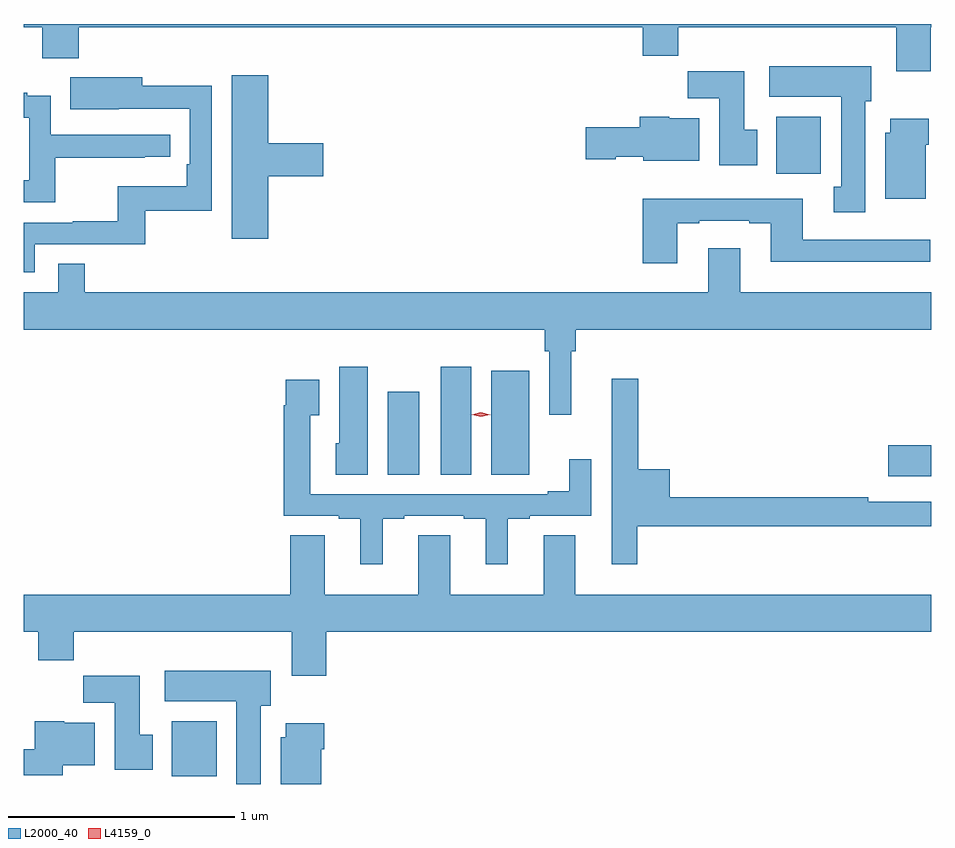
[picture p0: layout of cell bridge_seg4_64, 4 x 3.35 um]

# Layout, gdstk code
import gdstk
lib = gdstk.Library(unit=1e-6, precision=1e-09)
def R(c, l, rs):  # rectangles x0, y0, x1, y1
    for r in rs: c.add(gdstk.rectangle(r[:2], r[2:], *l))
def P(c, l, *ps):  # polygons
    for p in ps: c.add(gdstk.Polygon(p, *l))
L2000_40 = (2000, 40)
L4159_0 = (4159, 0)

bridge_seg4_64 = lib.new_cell('bridge_seg4_64')
R(bridge_seg4_64, L2000_40, [(844.607,829.484,844.804,829.726), (847.764,830.807,847.954,830.942), (845.558,830.812,845.698,831.178), (845.792,830.812,845.926,831.289), (846.014,830.812,846.181,831.271), (847.271,832.14,847.467,832.39)])
P(bridge_seg4_64, L2000_40, [(847.952,832.784),(847.954,832.784),(847.954,832.799),(843.954,832.799),(843.954,832.784),(844.036,832.784),(844.036,832.649),(844.196,832.649),(844.196,832.784),(846.683,832.784),(846.683,832.66),(846.839,832.66),(846.839,832.784),(847.799,832.784),(847.799,832.59),(847.952,832.59)],
  [(847.663,832.458),(847.69,832.458),(847.69,832.612),(847.239,832.612),(847.239,832.478),(847.556,832.478),(847.556,832.081),(847.523,832.081),(847.523,831.969),(847.663,831.969)],
  [(847.186,832.332),(847.129,832.332),(847.129,832.591),(846.88,832.591),(846.88,832.472),(847.019,832.472),(847.019,832.176),(847.186,832.176)],
  [(845.032,832.127),(845.275,832.127),(845.275,832.274),(845.032,832.274),(845.032,832.573),(844.871,832.573),(844.871,831.852),(845.032,831.852)],
  [(844.002,831.828),(844.489,831.828),(844.489,831.975),(844.782,831.975),(844.782,832.526),(844.477,832.526),(844.477,832.564),(844.159,832.564),(844.159,832.424),(844.373,832.424),(844.373,832.425),(844.686,832.425),(844.686,832.18),(844.673,832.18),(844.673,832.084),(844.368,832.084),(844.368,831.929),(844.171,831.929),(844.171,831.924),(843.954,831.924),(843.954,831.705),(844.002,831.705)],
  [(844.094,832.21),(844.487,832.21),(844.487,832.215),(844.6,832.215),(844.6,832.311),(844.074,832.311),(844.074,832.483),(843.971,832.483),(843.971,832.495),(843.954,832.495),(843.954,832.386),(843.978,832.386),(843.978,832.11),(843.954,832.11),(843.954,832.014),(844.094,832.014)],
  [(846.931,832.384),(846.798,832.384),(846.798,832.39),(846.668,832.39),(846.668,832.344),(846.432,832.344),(846.432,832.202),(846.564,832.202),(846.564,832.214),(846.684,832.214),(846.684,832.196),(846.931,832.196)],
  [(847.93,832.268),(847.943,832.268),(847.943,832.381),(847.772,832.381),(847.772,832.32),(847.751,832.32),(847.751,832.028),(847.93,832.028)],
  [(846.835,831.921),(846.931,831.921),(846.931,831.933),(847.151,831.933),(847.151,831.921),(847.247,831.921),(847.247,831.752),(847.948,831.752),(847.948,831.849),(847.387,831.849),(847.387,832.03),(846.683,832.03),(846.683,831.744),(846.835,831.744)],
  [(844.223,831.743),(844.107,831.743),(844.107,831.616),(843.954,831.616),(843.954,831.452),(846.25,831.452),(846.25,831.356),(846.27,831.356),(846.27,831.078),(846.368,831.078),(846.368,831.356),(846.386,831.356),(846.386,831.452),(847.954,831.452),(847.954,831.616),(847.111,831.616),(847.111,831.811),(846.971,831.811),(846.971,831.616),(844.223,831.616)],
  [(845.47,831.289),(845.345,831.289),(845.345,830.952),(845.33,830.952),(845.33,830.812),(845.47,830.812)],
  [(846.658,830.586),(847.954,830.586),(847.954,830.694),(847.676,830.694),(847.676,830.714),(846.802,830.714),(846.802,830.836),(846.662,830.836),(846.662,831.235),(846.545,831.235),(846.545,830.932),(846.546,830.932),(846.546,830.418),(846.658,830.418)],
  [(845.536,830.619),(845.632,830.619),(845.632,830.631),(845.894,830.631),(845.894,830.619),(845.99,830.619),(845.99,830.418),(846.088,830.418),(846.088,830.619),(846.184,830.619),(846.184,830.631),(846.456,830.631),(846.456,830.881),(846.359,830.881),(846.359,830.74),(846.263,830.74),(846.263,830.727),(845.217,830.727),(845.217,831.076),(845.257,831.076),(845.257,831.232),(845.109,831.232),(845.109,831.119),(845.101,831.119),(845.101,830.631),(845.342,830.631),(845.342,830.619),(845.438,830.619),(845.438,830.418),(845.536,830.418)],
  [(845.288,830.12),(847.954,830.12),(847.954,830.284),(846.385,830.284),(846.385,830.546),(846.245,830.546),(846.245,830.284),(845.833,830.284),(845.833,830.546),(845.693,830.546),(845.693,830.284),(845.281,830.284),(845.281,830.546),(845.129,830.546),(845.129,830.284),(843.954,830.284),(843.954,830.12),(844.019,830.12),(844.019,829.996),(844.175,829.996),(844.175,830.12),(845.135,830.12),(845.135,829.926),(845.288,829.926)],
  [(844.999,829.794),(845.044,829.794),(845.044,829.948),(844.575,829.948),(844.575,829.814),(844.892,829.814),(844.892,829.45),(844.999,829.45)],
  [(844.522,829.668),(844.465,829.668),(844.465,829.927),(844.216,829.927),(844.216,829.808),(844.355,829.808),(844.355,829.512),(844.522,829.512)],
  [(844.126,829.532),(844.267,829.532),(844.267,829.72),(844.134,829.72),(844.134,829.726),(844.004,829.726),(844.004,829.604),(843.954,829.604),(843.954,829.488),(844.126,829.488)],
  [(845.266,829.604),(845.279,829.604),(845.279,829.717),(845.108,829.717),(845.108,829.656),(845.087,829.656),(845.087,829.45),(845.266,829.45)])
P(bridge_seg4_64, L4159_0, [(845.969,831.068),(845.928,831.077),(845.928,831.078),(845.928,831.078),(845.969,831.088),(846.01,831.078),(846.01,831.077),(846.01,831.077)])

lib.write_gds('bridge_seg4_64.gds')
